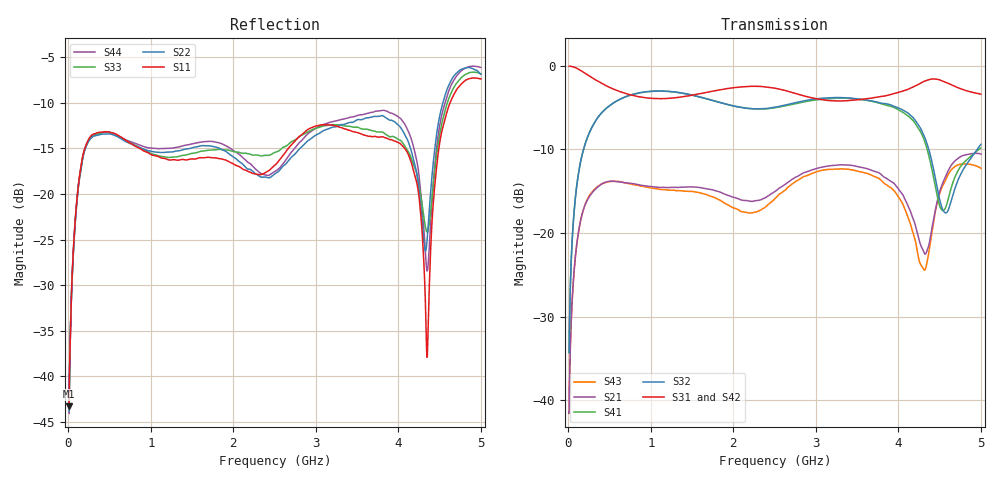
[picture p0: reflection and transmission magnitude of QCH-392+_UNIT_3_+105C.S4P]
!Mini-Circuits Laboratory
!S-Parameters
!Model: QCH-392+
!Run/Date Code: 1935
!DATA FOR: UNIT # 3
!Unit soldered on TB-863
!Freq	S11:SOLT4(ON)	S12:SOLT4(ON)	S13:SOLT4(ON)	S14:SOLT4(ON)
!	S21:SOLT4(ON)	S22:SOLT4(ON)	S23:SOLT4(ON)	S24:SOLT4(ON)
!	S31:SOLT4(ON)	S32:SOLT4(ON)	S33:SOLT4(ON)	S34:SOLT4(ON)
!	S41:SOLT4(ON)	S42:SOLT4(ON)	S43:SOLT4(ON)	S44:SOLT4(ON)
!PortZ  Port1:50+j0  Port2:50+j0  Port3:50+j0  Port4:50+j0
!Above PortZ is port z conversion or system Z0 setting when saving the data.
!Connection: PORT-1 - pin<1>;  PORT-2 - pin<2>;  PORT-3- pin<3>; PORT-4- pin<4>
!When reading, reference impedance value at option line is always used.
# Hz S RI R 50
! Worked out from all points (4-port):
!   1001 points, 10 MHz to 5 GHz, reference 50 ohm
!   strongest paths, dB at 10 MHz, 1.258 GHz, 2.505 GHz, 3.752 GHz, 5 GHz:
!     S31: -0.1, -3.9, -2.7, -3.7, -3.4
!     S42: -0.1, -3.9, -2.6, -4.0, -3.7
!     S32: -34.3, -3.1, -5.0, -4.4, -9.4
!     S41: -34.3, -3.1, -5.0, -4.4, -9.9
!     S21: -41.6, -14.6, -15.0, -12.8, -10.6
!     S43: -41.6, -14.9, -15.9, -13.4, -12.3
!   lowest |S11| = -43.3 dB at 10 MHz (marker M1), VSWR 1.01, Z = 50 - j0.685 ohm
!   |S11| at or under -10 dB: start of sweep to 4.626 GHz
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1e7  -4.07e-05 -0.00685  0.000413 0.00835  0.9918 -0.0365  0.000818 0.0193
     0.000412 0.00836  -0.0004 -0.00643  0.00082 0.0193  0.9916 -0.0363
     0.9918 -0.0364  0.000816 0.0193  -4.99e-05 -0.00674  0.000404 0.00836
     0.000817 0.0193  0.9919 -0.0364  0.000403 0.00834  -0.000373 -0.00625
2.2457e8  -0.1644 -0.0956  0.1482 0.0454  0.6542 -0.5965  0.2698 0.2447
          0.1482 0.0456  -0.1623 -0.0917  0.2683 0.245  0.6541 -0.5992
          0.654 -0.5966  0.2683 0.245  -0.1602 -0.0999  0.1485 0.0495
          0.2696 0.245  0.6547 -0.5985  0.1485 0.0495  -0.1588 -0.0988
1.29742e9  0.0759 0.1339  -0.1806 -0.0494  -0.6427 0.00696  -0.0429 -0.6927
           -0.1809 -0.0488  0.0711 0.1564  -0.0372 -0.6941  -0.6381 0.0161
           -0.6426 0.00767  -0.0375 -0.694  0.0601 0.148  -0.1705 -0.056
           -0.0441 -0.6925  -0.6379 0.0165  -0.1704 -0.0562  0.0727 0.1645
2.48005e9  -0.0939 -0.1054  0.11 0.1334  0.7289 0.0967  -0.0401 0.5562
           0.1104 0.134  -0.1042 -0.0719  -0.0361 0.5602  0.7364 0.082
           0.7296 0.0953  -0.036 0.5605  -0.0766 -0.1486  0.0579 0.1448
           -0.0392 0.5566  0.7364 0.082  0.0578 0.1448  -0.0737 -0.1081
3.3034e9  -0.0482 0.2266  0.0302 -0.2533  -0.1778 -0.5886  0.5752 -0.2796
          0.0306 -0.2534  -0.0476 0.2354  0.5709 -0.2993  -0.2081 -0.5737
          -0.1793 -0.5882  0.5705 -0.2997  -0.1299 0.2004  0.1074 -0.2158
          0.5745 -0.2807  -0.2081 -0.5735  0.1073 -0.2161  -0.1341 0.2185
4.34631e9  0.0026 0.0124  -0.0593 0.0516  -0.1797 0.7974  -0.2922 -0.129
           -0.0586 0.0517  -0.0232 0.0496  -0.3161 -0.131  -0.1449 0.8007
           -0.1778 0.798  -0.3162 -0.1311  -0.0188 0.0591  -0.0658 0.0051
           -0.2929 -0.1283  -0.1447 0.8009  -0.0662 0.00495  -0.00831 0.0369
5e9  0.2339 0.3587  0.2854 0.079  0.6687 -0.0885  -0.1951 -0.2562
     0.2851 0.0784  0.2296 0.3913  -0.1789 -0.2876  0.6504 -0.087
     0.6688 -0.0914  -0.1796 -0.2871  0.114 0.4417  0.1797 0.1648
     -0.1959 -0.255  0.65 -0.0878  0.1795 0.1643  0.1438 0.4731
